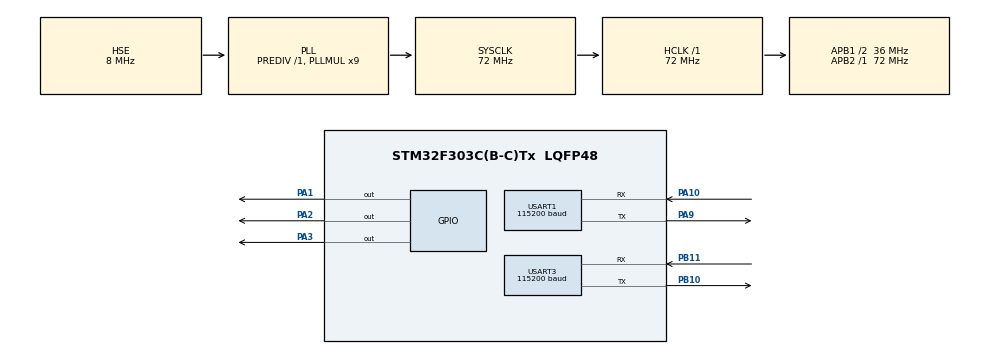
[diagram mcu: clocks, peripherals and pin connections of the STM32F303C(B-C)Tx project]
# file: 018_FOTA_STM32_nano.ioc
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Mcu.Family=STM32F3
Mcu.Name=STM32F303C(B-C)Tx
Mcu.Package=LQFP48
NVIC.PriorityGroup=NVIC_PRIORITYGROUP_4
NVIC.USART1_IRQn=true\:0\:0\:false\:false\:true\:true\:true\:true
NVIC.USART3_IRQn=true\:0\:0\:false\:false\:true\:true\:true\:true
PA1.Signal=GPIO_Output
PA10.Mode=Asynchronous
PA10.Signal=USART1_RX
PA2.Signal=GPIO_Output
PA3.Signal=GPIO_Output
PA9.Mode=Asynchronous
PA9.Signal=USART1_TX
PB10.Mode=Asynchronous
PB10.Signal=USART3_TX
PB11.Mode=Asynchronous
PB11.Signal=USART3_RX
PF0-OSC_IN.Mode=HSE-External-Oscillator
PF0-OSC_IN.Signal=RCC_OSC_IN
PF1-OSC_OUT.Mode=HSE-External-Oscillator
PF1-OSC_OUT.Signal=RCC_OSC_OUT
ProjectManager.HeapSize=0x400
ProjectManager.StackSize=0x800
ProjectManager.TargetToolchain=STM32CubeIDE
RCC.AHBFreq_Value=72000000
RCC.APB1CLKDivider=RCC_HCLK_DIV2
RCC.APB1Freq_Value=36000000
RCC.APB1TimFreq_Value=72000000
RCC.APB2Freq_Value=72000000
RCC.APB2TimFreq_Value=72000000
RCC.CortexFreq_Value=72000000
RCC.HCLKFreq_Value=72000000
RCC.HSE_VALUE=8000000
RCC.HSI_VALUE=8000000
RCC.LSE_VALUE=32768
RCC.PLLMUL=RCC_PLL_MUL9
RCC.PLLSourceVirtual=RCC_PLLSOURCE_HSE
RCC.SYSCLKFreq_VALUE=72000000
RCC.SYSCLKSourceVirtual=RCC_SYSCLKSOURCE_PLLCLK
RCC.USBFreq_Value=72000000
RCC.Usart3ClockSelection=RCC_USART3CLKSOURCE_SYSCLK
USART1.BaudRate=115200
USART1.VirtualMode-Asynchronous=VM_ASYNC
USART3.BaudRate=115200
USART3.VirtualMode-Asynchronous=VM_ASYNC
board=custom

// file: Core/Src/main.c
/* USER CODE BEGIN Header */
/**
  ******************************************************************************
  * @file           : main.c
  * @brief          : Main program body
  ******************************************************************************
  * @attention
  *
  * Copyright (c) 2024 STMicroelectronics.
  * All rights reserved.
  *
  * This software is licensed under terms that can be found in the LICENSE file
  * in the root directory of this software component.
  * If no LICENSE file comes with this software, it is provided AS-IS.
  *
  ******************************************************************************
  */
/* USER CODE END Header */
#include "main.h"

/* USER CODE BEGIN Includes */
#include "UartRingbuffer_multi.h"
#include "ESP8266.h"
#include "firmware_parse.h"
#include "version.h"
#include <string.h>
#include <stdarg.h>
#include <stdio.h>
/* USER CODE END Includes */

/* USER CODE BEGIN PD */
#define SSID "BHARATISOFT 2011"
#define PASSWORD "12345678"

/* USER CODE END PD */

UART_HandleTypeDef huart1;
UART_HandleTypeDef huart3;

/* USER CODE BEGIN PV */
#define pc_uart &huart1
char recv_buf[2048] = { 0 };

/* USER CODE END PV */

void SystemClock_Config(void);
static void MX_GPIO_Init(void);
static void MX_USART3_UART_Init(void);
static void MX_USART1_UART_Init(void);
/* USER CODE BEGIN PFP */
static void jump_application(void);
/* USER CODE END PFP */

/* USER CODE BEGIN 0 */
void print_pc(const char *format, ...) {
    char buffer[100];
    va_list args;
    va_start(args, format);
    vsprintf(buffer, format, args);
    va_end(args);

    HAL_UART_Transmit(pc_uart, buffer, strlen(buffer), HAL_MAX_DELAY);
}

void run_application() {
  jump_application();
  //print_pc("Resetting system\r\n");
  HAL_Delay(1000);
  HAL_NVIC_SystemReset();
}
/* USER CODE END 0 */

int main(void)
{

  /* USER CODE BEGIN 1 */
  char stored_version[VERSION_MAX_LENGTH] = {0};
  char current_version[VERSION_MAX_LENGTH] = {0};

  /* USER CODE END 1 */

  /* MCU Configuration--------------------------------------------------------*/

  /* Reset of all peripherals, Initializes the Flash interface and the Systick. */
  HAL_Init();

  /* Configure the system clock */
  SystemClock_Config();

  /* Initialize all configured peripherals */
  MX_GPIO_Init();
  MX_USART3_UART_Init();
  MX_USART1_UART_Init();
  /* USER CODE BEGIN 2 */
  HAL_Delay(100);
  Ringbuf_init();

  print_pc("Bootlader initiated\r\n");
  while (connect_to_wifi(SSID, PASSWORD) != WIFI_OK) {
    print_pc("Wi-Fi Connection Failed! Retrying...\r\n");
      HAL_Delay(1000);
  }
  print_pc("Wi-Fi Connected Successfully to network %s\r\n", SSID);

  // Retrieve firmware information after Wi-Fi connection
  if (get_firmware_info() != WIFI_OK) {
    print_pc("Failed to get firmware info.\r\n");
      return -1;
  }

  get_current_version(current_version, VERSION_MAX_LENGTH);
  get_stored_version(stored_version, VERSION_MAX_LENGTH);

  // Check if flash memory is uninitialized
  if (*(uint32_t *)FIRMWARE_VERSION_PAGE_ADDRESS == 0xFFFFFFFF) {
    print_pc("Flash is uninitialized. Storing version %s...\r\n", current_version);

      flash_firmware_version((uint8_t*)current_version, (uint32_t)FIRMWARE_VERSION_PAGE_ADDRESS,\
          sizeof(current_version));
      print_pc("Flash initialized with version %s.\r\n", current_version);

      // Download firmware if flash initialization is successful
      if (get_firmware((uint8_t *)recv_buf) != WIFI_OK) {
        print_pc("Firmware Download Failed!\r\n");
          Error_Handler();
      }

  } else if (strcmp(stored_version, current_version) != 0) {
    // Check for version mismatch and update flash if needed
    print_pc("New version is available!!. Updating flash to %s...\r\n", current_version);
    flash_firmware_version((uint8_t*)current_version, (uint32_t)FIRMWARE_VERSION_PAGE_ADDRESS,\
        sizeof(current_version));
    memset(recv_buf, 0, sizeof(recv_buf));

    // Download firmware after updating flash with new version
    if (get_firmware((uint8_t *)recv_buf) != WIFI_OK) {
      print_pc("Firmware Download Failed!\n");
      Error_Handler();
    }
    print_pc("Launching New application...\r\n");
  } else {
    print_pc("Flash version is up to date: %s.\r\n", stored_version);
    print_pc("Launching current application...\r\n");
  }

  // Perform firmware update
  run_application();

  /* USER CODE END 2 */

  /* Infinite loop */
  while (1)
  {

  }
}

void SystemClock_Config(void)
{
  RCC_OscInitTypeDef RCC_OscInitStruct = {0};
  RCC_ClkInitTypeDef RCC_ClkInitStruct = {0};
  RCC_PeriphCLKInitTypeDef PeriphClkInit = {0};

  /** Initializes the RCC Oscillators according to the specified parameters
  * in the RCC_OscInitTypeDef structure.
  */
  RCC_OscInitStruct.OscillatorType = RCC_OSCILLATORTYPE_HSE;
  RCC_OscInitStruct.HSEState = RCC_HSE_ON;
  RCC_OscInitStruct.HSEPredivValue = RCC_HSE_PREDIV_DIV1;
  RCC_OscInitStruct.HSIState = RCC_HSI_ON;
  RCC_OscInitStruct.PLL.PLLState = RCC_PLL_ON;
  RCC_OscInitStruct.PLL.PLLSource = RCC_PLLSOURCE_HSE;
  RCC_OscInitStruct.PLL.PLLMUL = RCC_PLL_MUL9;
  if (HAL_RCC_OscConfig(&RCC_OscInitStruct) != HAL_OK)
  {
    Error_Handler();
  }

  /** Initializes the CPU, AHB and APB buses clocks
  */
  RCC_ClkInitStruct.ClockType = RCC_CLOCKTYPE_HCLK|RCC_CLOCKTYPE_SYSCLK
                              |RCC_CLOCKTYPE_PCLK1|RCC_CLOCKTYPE_PCLK2;
  RCC_ClkInitStruct.SYSCLKSource = RCC_SYSCLKSOURCE_PLLCLK;
  RCC_ClkInitStruct.AHBCLKDivider = RCC_SYSCLK_DIV1;
  RCC_ClkInitStruct.APB1CLKDivider = RCC_HCLK_DIV2;
  RCC_ClkInitStruct.APB2CLKDivider = RCC_HCLK_DIV1;

  if (HAL_RCC_ClockConfig(&RCC_ClkInitStruct, FLASH_LATENCY_2) != HAL_OK)
  {
    Error_Handler();
  }
  PeriphClkInit.PeriphClockSelection = RCC_PERIPHCLK_USART1|RCC_PERIPHCLK_USART3;
  PeriphClkInit.Usart1ClockSelection = RCC_USART1CLKSOURCE_PCLK2;
  PeriphClkInit.Usart3ClockSelection = RCC_USART3CLKSOURCE_SYSCLK;
  if (HAL_RCCEx_PeriphCLKConfig(&PeriphClkInit) != HAL_OK)
  {
    Error_Handler();
  }
}

static void MX_USART1_UART_Init(void)
{

  huart1.Instance = USART1;
  huart1.Init.BaudRate = 115200;
  huart1.Init.WordLength = UART_WORDLENGTH_8B;
  huart1.Init.StopBits = UART_STOPBITS_1;
  huart1.Init.Parity = UART_PARITY_NONE;
  huart1.Init.Mode = UART_MODE_TX_RX;
  huart1.Init.HwFlowCtl = UART_HWCONTROL_NONE;
  huart1.Init.OverSampling = UART_OVERSAMPLING_16;
  huart1.Init.OneBitSampling = UART_ONE_BIT_SAMPLE_DISABLE;
  huart1.AdvancedInit.AdvFeatureInit = UART_ADVFEATURE_NO_INIT;
  if (HAL_UART_Init(&huart1) != HAL_OK)
  {
    Error_Handler();
  }

}

static void MX_USART3_UART_Init(void)
{

  huart3.Instance = USART3;
  huart3.Init.BaudRate = 115200;
  huart3.Init.WordLength = UART_WORDLENGTH_8B;
  huart3.Init.StopBits = UART_STOPBITS_1;
  huart3.Init.Parity = UART_PARITY_NONE;
  huart3.Init.Mode = UART_MODE_TX_RX;
  huart3.Init.HwFlowCtl = UART_HWCONTROL_NONE;
  huart3.Init.OverSampling = UART_OVERSAMPLING_16;
  huart3.Init.OneBitSampling = UART_ONE_BIT_SAMPLE_DISABLE;
  huart3.AdvancedInit.AdvFeatureInit = UART_ADVFEATURE_NO_INIT;
  if (HAL_UART_Init(&huart3) != HAL_OK)
  {
    Error_Handler();
  }

}

static void MX_GPIO_Init(void)
{
  GPIO_InitTypeDef GPIO_InitStruct = {0};

  /* GPIO Ports Clock Enable */
  __HAL_RCC_GPIOF_CLK_ENABLE();
  __HAL_RCC_GPIOA_CLK_ENABLE();
  __HAL_RCC_GPIOB_CLK_ENABLE();

  /*Configure GPIO pin Output Level */
  HAL_GPIO_WritePin(GPIOA, GPIO_PIN_1|GPIO_PIN_2|GPIO_PIN_3, GPIO_PIN_RESET);

  /*Configure GPIO pins : PA1 PA2 PA3 */
  GPIO_InitStruct.Pin = GPIO_PIN_1|GPIO_PIN_2|GPIO_PIN_3;
  GPIO_InitStruct.Mode = GPIO_MODE_OUTPUT_PP;
  GPIO_InitStruct.Pull = GPIO_NOPULL;
  GPIO_InitStruct.Speed = GPIO_SPEED_FREQ_LOW;
  HAL_GPIO_Init(GPIOA, &GPIO_InitStruct);

}

/* USER CODE BEGIN 4 */
static void jump_application(void)
{
    printf("Gonna Jump to Application\r\n");

    // Get the application reset handler (start of application)
    void (*app_reset_handler)(void) = (void*)(*((volatile uint32_t*) (0x08008000 + 4U)));

    // Check if the reset handler is valid (not erased)
    if (app_reset_handler != (void*)0xFFFFFFFF) {

        /* Reset the Clock system */
        HAL_RCC_DeInit(); // De-initialize the RCC
        HAL_DeInit();     // De-initialize the HAL library

        /* Disable all interrupts */

        /* Set the vector table to the application address */
        SCB->VTOR = 0x08008000;  // Correctly set the vector table offset

        /* Reset the SysTick timer */
        SysTick->CTRL = 0;
        SysTick->LOAD = 0;
        SysTick->VAL  = 0;

        /* Set the MSP (Main Stack Pointer) to the application's stack pointer */
        __set_MSP(*(volatile uint32_t*) 0x08008000);

        /* Jump to application reset handler */
        app_reset_handler();  // Call the application's reset handler
    } else {
        // Error handling if the application is not valid
        printf("Application is not present or corrupted\r\n");
        // Stay in bootloader or take action
    }
}

/* USER CODE END 4 */

void Error_Handler(void)
{
  __disable_irq();
  while (1)
  {
  }
}
